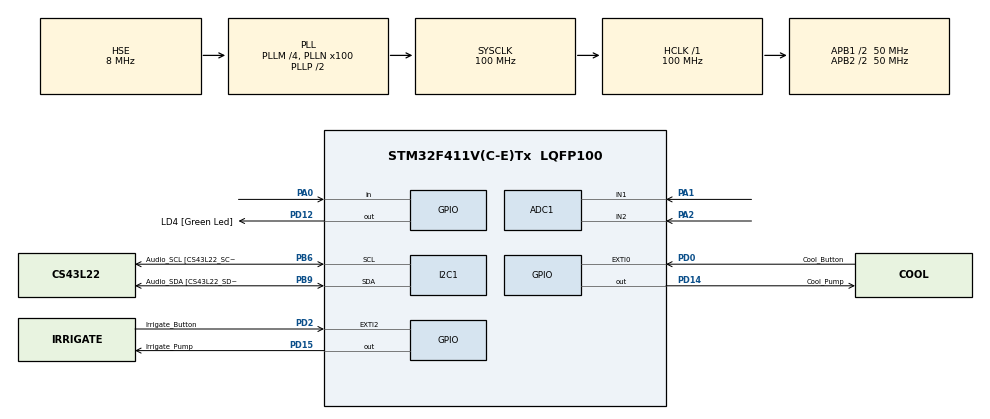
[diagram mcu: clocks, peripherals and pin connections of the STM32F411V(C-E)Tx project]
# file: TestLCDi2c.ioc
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ADC1.Channel-2\#ChannelRegularConversion=ADC_CHANNEL_1
ADC1.Channel-3\#ChannelRegularConversion=ADC_CHANNEL_2
ADC1.ClockPrescaler=ADC_CLOCK_SYNC_PCLK_DIV2
ADC1.ContinuousConvMode=ENABLE
ADC1.DMAContinuousRequests=ENABLE
ADC1.NbrOfConversion=2
ADC1.NbrOfConversionFlag=1
ADC1.Rank-2\#ChannelRegularConversion=1
ADC1.Rank-3\#ChannelRegularConversion=2
ADC1.SamplingTime-2\#ChannelRegularConversion=ADC_SAMPLETIME_480CYCLES
ADC1.SamplingTime-3\#ChannelRegularConversion=ADC_SAMPLETIME_480CYCLES
ADC1.master=1
Dma.ADC1.0.Direction=DMA_PERIPH_TO_MEMORY
Dma.ADC1.0.FIFOMode=DMA_FIFOMODE_DISABLE
Dma.ADC1.0.Instance=DMA2_Stream0
Dma.ADC1.0.MemDataAlignment=DMA_MDATAALIGN_WORD
Dma.ADC1.0.MemInc=DMA_MINC_ENABLE
Dma.ADC1.0.Mode=DMA_CIRCULAR
Dma.ADC1.0.PeriphDataAlignment=DMA_PDATAALIGN_WORD
Dma.ADC1.0.PeriphInc=DMA_PINC_DISABLE
Dma.ADC1.0.Priority=DMA_PRIORITY_LOW
Dma.Request0=ADC1
Mcu.Family=STM32F4
Mcu.Name=STM32F411V(C-E)Tx
Mcu.Package=LQFP100
NVIC.DMA2_Stream0_IRQn=true\:0\:0\:false\:false\:true\:false\:true
NVIC.EXTI0_IRQn=true\:0\:0\:false\:false\:true\:true\:true
NVIC.EXTI2_IRQn=true\:0\:0\:false\:false\:true\:true\:true
NVIC.PriorityGroup=NVIC_PRIORITYGROUP_0
PA0-WKUP.Signal=GPIO_Input
PA1.Signal=SharedAnalog_PA1
PA2.Signal=SharedAnalog_PA2
PB6.GPIO_Label=Audio_SCL [CS43L22_SCL]
PB6.GPIO_Mode=GPIO_MODE_AF_OD
PB6.GPIO_PuPd=GPIO_NOPULL
PB6.GPIO_Speed=GPIO_SPEED_FREQ_LOW
PB6.Mode=I2C
PB6.Signal=I2C1_SCL
PB9.GPIO_Label=Audio_SDA [CS43L22_SDA]
PB9.GPIO_Mode=GPIO_MODE_AF_OD
PB9.GPIO_PuPd=GPIO_NOPULL
PB9.GPIO_Speed=GPIO_SPEED_FREQ_LOW
PB9.Mode=I2C
PB9.Signal=I2C1_SDA
PD0.GPIO_Label=Cool_Button
PD0.GPIO_ModeDefaultEXTI=GPIO_MODE_IT_FALLING
PD0.GPIO_PuPd=GPIO_PULLUP
PD0.Signal=GPXTI0
PD12.GPIO_Label=LD4 [Green Led]
PD12.GPIO_PuPd=GPIO_NOPULL
PD12.GPIO_Speed=GPIO_SPEED_FREQ_LOW
PD12.Signal=GPIO_Output
PD14.GPIO_Label=Cool_Pump
PD14.Signal=GPIO_Output
PD15.GPIO_Label=Irrigate_Pump
PD15.Signal=GPIO_Output
PD2.GPIO_Label=Irrigate_Button
PD2.GPIO_ModeDefaultEXTI=GPIO_MODE_IT_FALLING
PD2.GPIO_PuPd=GPIO_PULLUP
PD2.Signal=GPXTI2
PH0\ -\ OSC_IN.Mode=HSE-External-Oscillator
PH0\ -\ OSC_IN.Signal=RCC_OSC_IN
PH1\ -\ OSC_OUT.Mode=HSE-External-Oscillator
PH1\ -\ OSC_OUT.Signal=RCC_OSC_OUT
ProjectManager.HeapSize=0x200
ProjectManager.StackSize=0x400
ProjectManager.TargetToolchain=STM32CubeIDE
RCC.48MHZClocksFreq_Value=25000000
RCC.AHBFreq_Value=100000000
RCC.APB1CLKDivider=RCC_HCLK_DIV2
RCC.APB1Freq_Value=50000000
RCC.APB1TimFreq_Value=100000000
RCC.APB2CLKDivider=RCC_HCLK_DIV2
RCC.APB2Freq_Value=50000000
RCC.APB2TimFreq_Value=100000000
RCC.CortexFreq_Value=100000000
RCC.HCLKFreq_Value=100000000
RCC.HSE_VALUE=8000000
RCC.HSI_VALUE=16000000
RCC.LSE_VALUE=32768
RCC.PLLI2SM=5
RCC.PLLI2SN=200
RCC.PLLM=4
RCC.PLLN=100
RCC.PLLQ=8
RCC.PLLSourceVirtual=RCC_PLLSOURCE_HSE
RCC.SYSCLKFreq_VALUE=100000000
RCC.SYSCLKSource=RCC_SYSCLKSOURCE_PLLCLK
RCC.VCOOutputFreq_Value=200000000
SH.SharedAnalog_PA1.0=GPIO_Analog
SH.SharedAnalog_PA1.1=ADC1_IN1,IN1
SH.SharedAnalog_PA2.0=GPIO_Analog
SH.SharedAnalog_PA2.1=ADC1_IN2,IN2
VP_TIM3_VS_ClockSourceINT.Mode=Internal
board=STM32F411E-DISCO

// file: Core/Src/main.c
/* USER CODE BEGIN Header */
/**
  ******************************************************************************
  * @file           : main.c
  * @brief          : Main program body
  ******************************************************************************
  * @attention
  *
  * <h2><center>&copy; Copyright (c) 2020 STMicroelectronics.
  * All rights reserved.</center></h2>
  *
  * This software component is licensed by ST under BSD 3-Clause license,
  * the "License"; You may not use this file except in compliance with the
  * License. You may obtain a copy of the License at:
  *                        opensource.org/licenses/BSD-3-Clause
  *
  ******************************************************************************
  */
/* USER CODE END Header */
#include "main.h"
/* USER CODE BEGIN Includes */
#include "lcd16x2_i2c.h"
#include "mg811.h"
#include "Timer_Delay.h"
#include "DHT.h"
#include <BH1750.h>
/* USER CODE END Includes */

/* USER CODE BEGIN PD */
#define ADC_CHANNELS 2
/* USER CODE END PD */

ADC_HandleTypeDef hadc1;
DMA_HandleTypeDef hdma_adc1;

I2C_HandleTypeDef hi2c1;

TIM_HandleTypeDef htim3;

/* USER CODE BEGIN PV */
DHT_DataTypeDef DHT22;
float BH1750_lux;
uint32_t adc_values[ADC_CHANNELS];
float boardTemp;

/* USER CODE END PV */

void SystemClock_Config(void);
static void MX_GPIO_Init(void);
static void MX_DMA_Init(void);
static void MX_I2C1_Init(void);
static void MX_TIM3_Init(void);
static void MX_ADC1_Init(void);

/* USER CODE BEGIN 0 */

void Display_Temp(float temp) {
    lcd16x2_i2c_setCursor(0, 0);
    lcd16x2_i2c_print_custom_char(THERMOMETER);
    lcd16x2_i2c_printf("%0.1f%c   ", temp, (char)223);
}

void Display_Hum(float hum) {
    if (hum >= 100) hum = 99;
    lcd16x2_i2c_setCursor(0, 7);
    lcd16x2_i2c_print_custom_char(DROP);
    lcd16x2_i2c_printf("%0.0f%c   ", hum, '%');
//    lcd16x2_i2c_print_custom_char(LIGHTBULB);
}

void Display_CO2(float ppm) {
    if (ppm > 10000) ppm = 9999;
    lcd16x2_i2c_setCursor(1,0);
    lcd16x2_i2c_printf("co");
    lcd16x2_i2c_print_custom_char(CO2_3);
    lcd16x2_i2c_printf("%0.0f", ppm);
    lcd16x2_i2c_print_custom_char(PPM_1);
    lcd16x2_i2c_print_custom_char(PPM_2);
    lcd16x2_i2c_printf("  ");
}

void Display_Lux(float lux) {
    lcd16x2_i2c_setCursor(1, 10);
    lcd16x2_i2c_print_custom_char(LIGHTBULB);
    lcd16x2_i2c_printf("%0.0fLx  ", lux);
}

void Display_Soil_Hum(int soilHum) {
    lcd16x2_i2c_setCursor(0, 12);   //0,12
//    lcd16x2_i2c_print_custom_char(DROP);
    lcd16x2_i2c_printf("S%d%c", soilHum, '%');
    lcd16x2_i2c_printf("  ");
}

void init_display(int waitTime) {
    int delay = waitTime / 16 / 6;
    lcd16x2_i2c_clear();
    lcd16x2_i2c_create_init_custom_chars();
    lcd16x2_i2c_setCursor(0,0);
    lcd16x2_i2c_printf("Initializing...");
    for (int i=0; i<16; i++) {
        for (int j=0; j<INIT_CUSTOM_CHAR_ARRAY_SIZE; j++) {
            lcd16x2_i2c_setCursor(1, i);
            lcd16x2_i2c_print_custom_char(j);
            HAL_Delay(delay);
        }
    }
    lcd16x2_i2c_clear();
    lcd16x2_i2c_create_custom_chars();
}

uint8_t getSoilHumidity(uint16_t adc_value){
#define INPUT_START 3600.0
#define INPUT_END 1830.0
#define OUTPUT_START 0.0
#define OUTPUT_END 100.0

    if (adc_value > INPUT_START) adc_value = INPUT_START;
    if (adc_value <= INPUT_END) adc_value = INPUT_END + 1;
    return OUTPUT_START + ((OUTPUT_END - OUTPUT_START) / (INPUT_END - INPUT_START)) * (adc_value - INPUT_START);
}
/* USER CODE END 0 */

int main(void)
{

  /* MCU Configuration--------------------------------------------------------*/

  /* Reset of all peripherals, Initializes the Flash interface and the Systick. */
  HAL_Init();

  /* Configure the system clock */
  SystemClock_Config();

  /* Initialize all configured peripherals */
  MX_GPIO_Init();
  MX_DMA_Init();
  MX_I2C1_Init();
  MX_TIM3_Init();
  MX_ADC1_Init();
  /* USER CODE BEGIN 2 */

  TimerDelay_Init();
  HAL_ADC_Start_DMA(&hadc1, adc_values, ADC_CHANNELS);
  HAL_Delay(200);

  BH1750_Init(&hi2c1);
  BH1750_SetMode(CONTINUOUS_HIGH_RES_MODE_2);

//  MG811_Init(&MG811_CO2Sensor, 10, 0.99);
//  MG811_Calibrate(&MG811_CO2Sensor, adc_values[0]);
  if (lcd16x2_i2c_init(&hi2c1)) {
      HAL_GPIO_WritePin(GPIOD, LD4_Pin, GPIO_PIN_SET);
  }
  init_display(1000);

  /* USER CODE END 2 */

  /* Infinite loop */
  while (1)
  {

    /* USER CODE BEGIN 3 */
    DHT_GetData(&DHT22);
    Display_Temp(DHT22.Temperature);
    Display_Hum(DHT22.Humidity);

    Display_Soil_Hum(getSoilHumidity(adc_values[1])); //MGRead(adc_values[0])*1000);//getSoilHumidity(adc_values[1]));
    Display_CO2(MGGetPercentage(MGRead(adc_values[0])));//adc_values[0]);//MG811_Read(&MG811_CO2Sensor, adc_values[0]));

    if (BH1750_OK == BH1750_ReadLight(&BH1750_lux)) Display_Lux(BH1750_lux);
    HAL_Delay(1000);

  }
  /* USER CODE END 3 */
}

void SystemClock_Config(void)
{
  RCC_OscInitTypeDef RCC_OscInitStruct = {0};
  RCC_ClkInitTypeDef RCC_ClkInitStruct = {0};

  /** Configure the main internal regulator output voltage
  */
  __HAL_RCC_PWR_CLK_ENABLE();
  __HAL_PWR_VOLTAGESCALING_CONFIG(PWR_REGULATOR_VOLTAGE_SCALE1);
  /** Initializes the RCC Oscillators according to the specified parameters
  * in the RCC_OscInitTypeDef structure.
  */
  RCC_OscInitStruct.OscillatorType = RCC_OSCILLATORTYPE_HSE;
  RCC_OscInitStruct.HSEState = RCC_HSE_ON;
  RCC_OscInitStruct.PLL.PLLState = RCC_PLL_ON;
  RCC_OscInitStruct.PLL.PLLSource = RCC_PLLSOURCE_HSE;
  RCC_OscInitStruct.PLL.PLLM = 4;
  RCC_OscInitStruct.PLL.PLLN = 100;
  RCC_OscInitStruct.PLL.PLLP = RCC_PLLP_DIV2;
  RCC_OscInitStruct.PLL.PLLQ = 8;
  if (HAL_RCC_OscConfig(&RCC_OscInitStruct) != HAL_OK)
  {
    Error_Handler();
  }
  /** Initializes the CPU, AHB and APB buses clocks
  */
  RCC_ClkInitStruct.ClockType = RCC_CLOCKTYPE_HCLK|RCC_CLOCKTYPE_SYSCLK
                              |RCC_CLOCKTYPE_PCLK1|RCC_CLOCKTYPE_PCLK2;
  RCC_ClkInitStruct.SYSCLKSource = RCC_SYSCLKSOURCE_PLLCLK;
  RCC_ClkInitStruct.AHBCLKDivider = RCC_SYSCLK_DIV1;
  RCC_ClkInitStruct.APB1CLKDivider = RCC_HCLK_DIV2;
  RCC_ClkInitStruct.APB2CLKDivider = RCC_HCLK_DIV2;

  if (HAL_RCC_ClockConfig(&RCC_ClkInitStruct, FLASH_LATENCY_3) != HAL_OK)
  {
    Error_Handler();
  }
}

static void MX_ADC1_Init(void)
{

  ADC_ChannelConfTypeDef sConfig = {0};

  /** Configure the global features of the ADC (Clock, Resolution, Data Alignment and number of conversion)
  */
  hadc1.Instance = ADC1;
  hadc1.Init.ClockPrescaler = ADC_CLOCK_SYNC_PCLK_DIV2;
  hadc1.Init.Resolution = ADC_RESOLUTION_12B;
  hadc1.Init.ScanConvMode = ENABLE;
  hadc1.Init.ContinuousConvMode = ENABLE;
  hadc1.Init.DiscontinuousConvMode = DISABLE;
  hadc1.Init.ExternalTrigConvEdge = ADC_EXTERNALTRIGCONVEDGE_NONE;
  hadc1.Init.ExternalTrigConv = ADC_SOFTWARE_START;
  hadc1.Init.DataAlign = ADC_DATAALIGN_RIGHT;
  hadc1.Init.NbrOfConversion = 2;
  hadc1.Init.DMAContinuousRequests = ENABLE;
  hadc1.Init.EOCSelection = ADC_EOC_SINGLE_CONV;
  if (HAL_ADC_Init(&hadc1) != HAL_OK)
  {
    Error_Handler();
  }
  /** Configure for the selected ADC regular channel its corresponding rank in the sequencer and its sample time.
  */
  sConfig.Channel = ADC_CHANNEL_1;
  sConfig.Rank = 1;
  sConfig.SamplingTime = ADC_SAMPLETIME_480CYCLES;
  if (HAL_ADC_ConfigChannel(&hadc1, &sConfig) != HAL_OK)
  {
    Error_Handler();
  }
  /** Configure for the selected ADC regular channel its corresponding rank in the sequencer and its sample time.
  */
  sConfig.Channel = ADC_CHANNEL_2;
  sConfig.Rank = 2;
  if (HAL_ADC_ConfigChannel(&hadc1, &sConfig) != HAL_OK)
  {
    Error_Handler();
  }

}

static void MX_I2C1_Init(void)
{

  hi2c1.Instance = I2C1;
  hi2c1.Init.ClockSpeed = 100000;
  hi2c1.Init.DutyCycle = I2C_DUTYCYCLE_2;
  hi2c1.Init.OwnAddress1 = 0;
  hi2c1.Init.AddressingMode = I2C_ADDRESSINGMODE_7BIT;
  hi2c1.Init.DualAddressMode = I2C_DUALADDRESS_DISABLE;
  hi2c1.Init.OwnAddress2 = 0;
  hi2c1.Init.GeneralCallMode = I2C_GENERALCALL_DISABLE;
  hi2c1.Init.NoStretchMode = I2C_NOSTRETCH_DISABLE;
  if (HAL_I2C_Init(&hi2c1) != HAL_OK)
  {
    Error_Handler();
  }

}

static void MX_TIM3_Init(void)
{

  TIM_ClockConfigTypeDef sClockSourceConfig = {0};
  TIM_MasterConfigTypeDef sMasterConfig = {0};

  htim3.Instance = TIM3;
  htim3.Init.Prescaler = 0;
  htim3.Init.CounterMode = TIM_COUNTERMODE_UP;
  htim3.Init.Period = 65535;
  htim3.Init.ClockDivision = TIM_CLOCKDIVISION_DIV1;
  htim3.Init.AutoReloadPreload = TIM_AUTORELOAD_PRELOAD_DISABLE;
  if (HAL_TIM_Base_Init(&htim3) != HAL_OK)
  {
    Error_Handler();
  }
  sClockSourceConfig.ClockSource = TIM_CLOCKSOURCE_INTERNAL;
  if (HAL_TIM_ConfigClockSource(&htim3, &sClockSourceConfig) != HAL_OK)
  {
    Error_Handler();
  }
  sMasterConfig.MasterOutputTrigger = TIM_TRGO_RESET;
  sMasterConfig.MasterSlaveMode = TIM_MASTERSLAVEMODE_DISABLE;
  if (HAL_TIMEx_MasterConfigSynchronization(&htim3, &sMasterConfig) != HAL_OK)
  {
    Error_Handler();
  }

}

static void MX_DMA_Init(void)
{

  /* DMA controller clock enable */
  __HAL_RCC_DMA2_CLK_ENABLE();

  /* DMA interrupt init */
  /* DMA2_Stream0_IRQn interrupt configuration */
  HAL_NVIC_SetPriority(DMA2_Stream0_IRQn, 0, 0);
  HAL_NVIC_EnableIRQ(DMA2_Stream0_IRQn);

}

static void MX_GPIO_Init(void)
{
  GPIO_InitTypeDef GPIO_InitStruct = {0};

  /* GPIO Ports Clock Enable */
  __HAL_RCC_GPIOH_CLK_ENABLE();
  __HAL_RCC_GPIOA_CLK_ENABLE();
  __HAL_RCC_GPIOD_CLK_ENABLE();
  __HAL_RCC_GPIOB_CLK_ENABLE();

  /*Configure GPIO pin Output Level */
  HAL_GPIO_WritePin(GPIOD, LD4_Pin|Cool_Pump_Pin|Irrigate_Pump_Pin, GPIO_PIN_RESET);

  /*Configure GPIO pin : PA0 */
  GPIO_InitStruct.Pin = GPIO_PIN_0;
  GPIO_InitStruct.Mode = GPIO_MODE_INPUT;
  GPIO_InitStruct.Pull = GPIO_NOPULL;
  HAL_GPIO_Init(GPIOA, &GPIO_InitStruct);

  /*Configure GPIO pins : LD4_Pin Cool_Pump_Pin Irrigate_Pump_Pin */
  GPIO_InitStruct.Pin = LD4_Pin|Cool_Pump_Pin|Irrigate_Pump_Pin;
  GPIO_InitStruct.Mode = GPIO_MODE_OUTPUT_PP;
  GPIO_InitStruct.Pull = GPIO_NOPULL;
  GPIO_InitStruct.Speed = GPIO_SPEED_FREQ_LOW;
  HAL_GPIO_Init(GPIOD, &GPIO_InitStruct);

  /*Configure GPIO pins : Cool_Button_Pin Irrigate_Button_Pin */
  GPIO_InitStruct.Pin = Cool_Button_Pin|Irrigate_Button_Pin;
  GPIO_InitStruct.Mode = GPIO_MODE_IT_FALLING;
  GPIO_InitStruct.Pull = GPIO_PULLUP;
  HAL_GPIO_Init(GPIOD, &GPIO_InitStruct);

  /* EXTI interrupt init*/
  HAL_NVIC_SetPriority(EXTI0_IRQn, 0, 0);
  HAL_NVIC_EnableIRQ(EXTI0_IRQn);

  HAL_NVIC_SetPriority(EXTI2_IRQn, 0, 0);
  HAL_NVIC_EnableIRQ(EXTI2_IRQn);

}

/* USER CODE BEGIN 4 */
void HAL_GPIO_EXTI_Callback(uint16_t GPIO_Pin)
{
    if(GPIO_Pin == Cool_Button_Pin) {
        HAL_GPIO_TogglePin(Cool_Pump_GPIO_Port, Cool_Pump_Pin);
    }

    if (GPIO_Pin == Irrigate_Button_Pin) {
        HAL_GPIO_TogglePin(Irrigate_Pump_GPIO_Port, Irrigate_Pump_Pin);
    }
}
/* USER CODE END 4 */

void Error_Handler(void)
{
}

/************************ (C) COPYRIGHT STMicroelectronics *****END OF FILE****/
